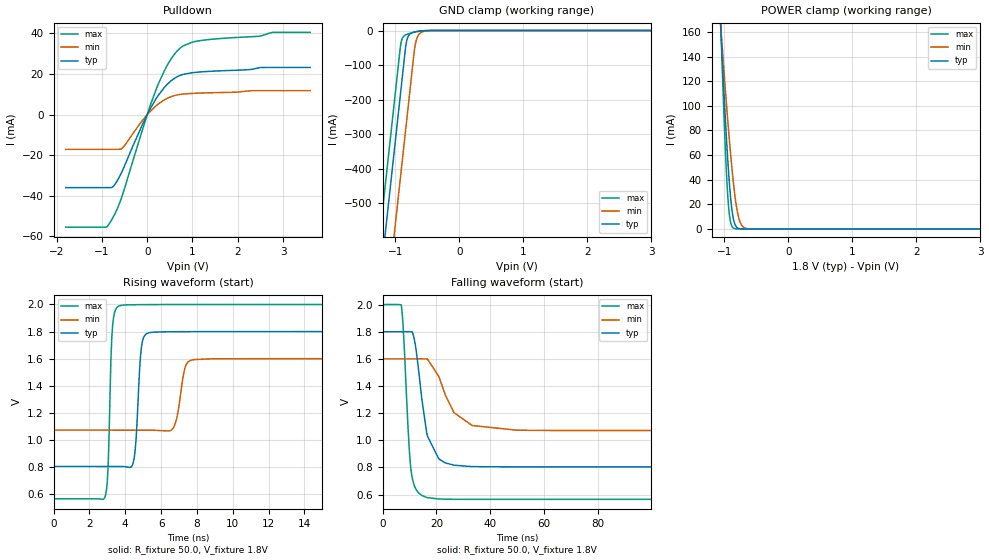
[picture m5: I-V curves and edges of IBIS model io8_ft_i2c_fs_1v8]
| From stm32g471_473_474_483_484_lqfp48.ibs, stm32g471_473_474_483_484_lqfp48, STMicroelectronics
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[Model]   io8_ft_i2c_fs_1v8
Model_type I/O_open_drain
Polarity   Non-Inverting
Enable   Active-Low
| CAP_THRESHOLD on pad IOFT is "UDTCAPC" :
| Rising=30.0% of vddiom   Falling=70.0% of vddiom
| C_comp min and max val. don't necessarily correlate with the min and max pvt
| but are the smallest and greatest pad capacitance found.
| var   typ   min   max
C_comp   2.35140pF  2.33125pF  2.40370pF
|C_comp_pulldown   2.35140pF  2.33125pF  2.40370pF
Vinl = 800.0mV
Vinh = 1.0V
Vmeas = 900.0mV   | Reference voltage for timing measurements
Cref  = 50.0pF   | Timing specification test load capacitance value
Rref  = 1.0MOhm   | Timing specification test load resistance value
Vref  = 990.0mV   | Timing specification test load voltage
[Model Spec]
| TIME_THRESHOLD on pin ZIV12 is "CMOS" :
| Rising=50.0% of vdd   Falling=50.0% of vdd
Vinl 728.70000mV 652.70000mV 817.70000mV
Vinh 1.06430V 953.30000mV 1.16330V
| variable   typ   min   max
[Temperature Range] 25.0 125.0 -40.0
| variable   typ   min   max
[Voltage Range] 1.8V 1.6V 2.0V
| variable   typ   min   max
[POWER Clamp Reference] 1.8V 1.6V 2.0V
| variable   typ   min   max
[GND Clamp Reference] 0V 0V 0V
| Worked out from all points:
|   slope of the pulldown table from 0 to 0.27 V, typ, clamps not added: 26.4 ohm
|   GND clamp passes 1 mA (typ) near -0.58 V on its own axis
|   POWER clamp passes 1 mA (typ) near -0.80 V on its own axis
|   rising waveform, R_fixture 50.0, V_fixture 1.8V: 20-80 % time 239ps typ, 366ps min, 181ps max; typ from 0.804 V to 1.8 V
|   falling waveform, R_fixture 50.0, V_fixture 1.8V: 20-80 % time 4.5ns typ, 8.27ns min, 2.24ns max; typ from 1.8 V to 0.804 V
[POWER Clamp]
-1.8V     1.076A     768.4mA    1.428A
-1.06V    166.8mA    167.3mA    172.4mA
-1.05V    156mA      159.9mA    156.7mA
-990mV    94.58mA    117mA      71.25mA
-950mV    58.69mA    90.08mA    29.27mA
-930mV    43.17mA    77.3mA     15.67mA
-910mV    29.83mA    65.11mA    7.377mA
-860mV    8.434mA    38.02mA    795.5uA
-810mV    1.577mA    17.81mA    74.4uA
-770mV    365.4uA    7.942mA    11.04uA
-650mV    4.138uA    347.7uA    35.9nA
3.6V      0A         0A         0A
[GND Clamp]
-1.8V     -1.68A     -1.921A    -1.54A
-1.24V    -727.6mA   -969.1mA   -588.3mA
-1.05V    -404.6mA   -646.1mA   -265.3mA
-920mV    -183.6mA   -425.1mA   -45.19mA
-890mV    -132.6mA   -374.1mA   -22.26mA
-850mV    -64.62mA   -306.1mA   -13.71mA
-830mV    -36.28mA   -272.1mA   -11.85mA
-800mV    -17.27mA   -221.1mA   -9.806mA
-690mV    -3.766mA   -41.92mA   -4.242mA
-640mV    -2.189mA   -13.56mA   -2.404mA
-570mV    -808.8uA   -3.218mA   -757.3uA
3.6V      453.9pA    48.38nA    315.2pA
| variable   typ   min   max
[Pullup Reference] 1.8V 1.6V 2.0V
| variable   typ   min   max
[Pulldown Reference] 0V 0V 0V
[Pulldown]
-1.8V     -35.95mA   -17.07mA   -55.42mA
-910mV    -35.95mA   -17.07mA   -55.42mA
-830mV    -35.95mA   -17.07mA   -53.41mA
-720mV    -34.49mA   -17.07mA   -49.08mA
-540mV    -27.18mA   -16.22mA   -39.07mA
-120mV    -5.598mA   -3.255mA   -8.496mA
240mV     9.353mA    5.171mA    14.85mA
490mV     15.96mA    8.523mA    26.14mA
750mV     19.54mA    10.04mA    33.17mA
1.37V     21.33mA    10.77mA    37.03mA
2.78V     23.25mA    11.81mA    40.55mA
3.6V      23.25mA    11.81mA    40.56mA
[Ramp]
dV/dt_r 597.456mV/236.98605ps 316.60854mV/364.2578ps 860.753mV/176.79264ps
dV/dt_f 597.45871mV/4.1309ns 316.65385mV/7.12586ns 860.78191mV/2.23889ns
R_load = 50.0
| Removed startup time: 0s 0s 0s  .
| Removed end time: 19.75ns.
[Rising Waveform]
R_fixture   = 50.0
V_fixture   = 1.8V
V_fixture_min = 1.6V
V_fixture_max = 2.0V
0s        804.2mV    1.072V     565.4mV
2.9ns     803.9mV    1.072V     590.5mV
3.25ns    803.9mV    1.072V     1.753V
3.6ns     803.8mV    1.072V     1.985V
4.45ns    834.7mV    1.072V     1.998V
4.9ns     1.681V     1.072V     1.999V
5.25ns    1.788V     1.072V     1.999V
6.7ns     1.799V     1.093V     2V
7.7ns     1.799V     1.589V     2V
19.75ns   1.8V       1.6V       2V
| Removed startup time: 0s 0s 0s  .
| Removed end time: 149.75ns.
[Falling Waveform]
R_fixture   = 50.0
V_fixture   = 1.8V
V_fixture_min = 1.6V
V_fixture_max = 2.0V
0s        1.8V       1.6V       2V
6.975ns   1.8V       1.6V       1.993V
10.5ns    1.8V       1.6V       794.7mV
12.2ns    1.7V       1.6V       648mV
14.6ns    1.302V     1.6V       593.7mV
16.65ns   1.032V     1.6V       577.7mV
20.95ns   862mV      1.469V     567.7mV
26.5ns    816.8mV    1.204V     565.6mV
49.92ns   804.3mV    1.074V     565.4mV
149.8ns   804.2mV    1.072V     565.4mV
